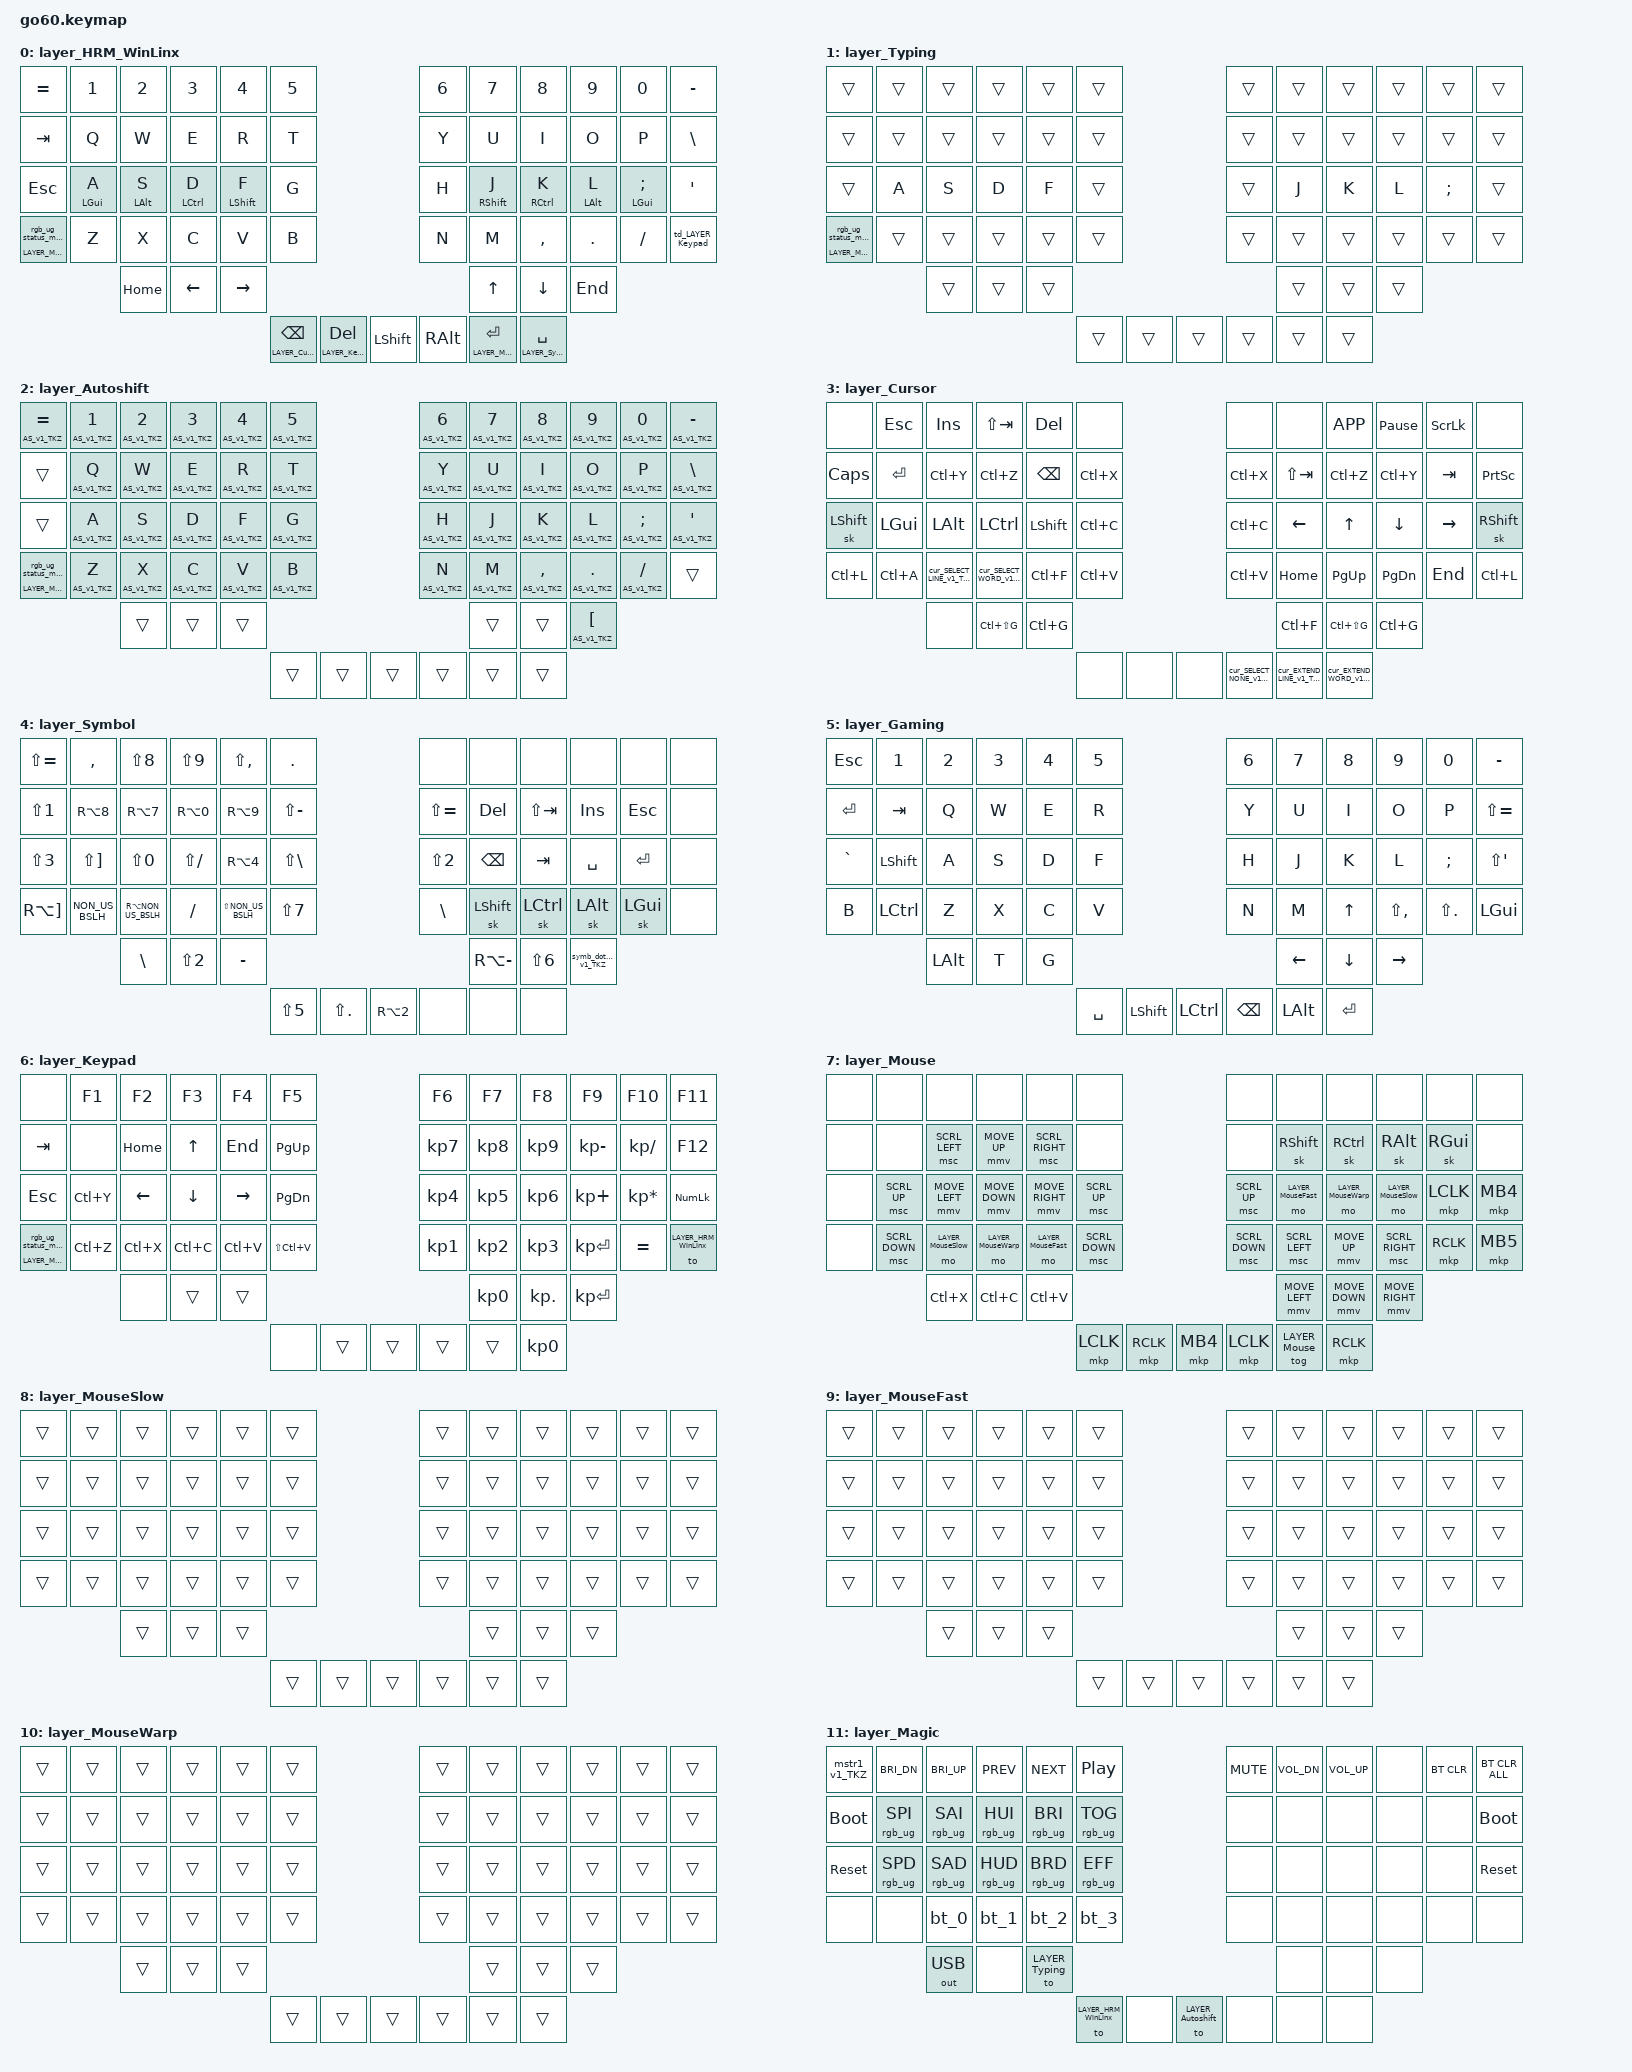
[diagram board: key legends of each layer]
/*
 * Copyright (c) 2020 The ZMK Contributors
 * Copyright (c) 2025 Innaworks Development Limited, trading as MoErgo
 *
 * SPDX-License-Identifier: MIT
 */


/* THIS FILE WAS GENERATED BY GO60 LAYOUT EDITOR
 *
 * This file was generated automatically. You may or may not want to
 * edit it directly.
 */

#include <behaviors.dtsi>

/* Include all behavior includes needed */

#include <dt-bindings/zmk/outputs.h>
#include <dt-bindings/zmk/keys.h>
#include <dt-bindings/zmk/bt.h>
#include <dt-bindings/zmk/rgb.h>

#include <input/processors.dtsi>
#include <dt-bindings/zmk/input_transform.h>
#include <zephyr/dt-bindings/input/input-event-codes.h>

/* On demand includes */
#include <dt-bindings/zmk/input_transform.h>
#include <dt-bindings/zmk/pointing.h>
#include <input/processors.dtsi>

/* Helper Macros, based on https://github.com/urob/zmk-helpers/ */

#pragma once

#define ZMK_HELPER_STRINGIFY(x) #x

// Preprocessor mechanism to overload macros, cf. https://stackoverflow.com/a/27051616/6114651
#define VARGS_(_10, _9, _8, _7, _6, _5, _4, _3, _2, _1, N, ...) N
#define VARGS(...) VARGS_(__VA_ARGS__, 10, 9, 8, 7, 6, 5, 4, 3, 2, 1, 0)
#define CONCAT_(a, b) a##b
#define CONCAT(a, b) CONCAT_(a, b)

#define ZMK_BEHAVIOR_CORE_tap_dance  \
    compatible = "zmk,behavior-tap-dance"; \
    #binding-cells = <0>

#define ZMK_BEHAVIOR(name, type, ...) \
    name: name { \
        ZMK_BEHAVIOR_CORE_ ## type; \
        __VA_ARGS__ \
    };

#define ZMK_TAP_DANCE(name, ...) \
    ZMK_BEHAVIOR(name, tap_dance, __VA_ARGS__)

#define ZMK_TD_LAYER(name, layer) \
    ZMK_TAP_DANCE(name, \
        tapping-term-ms = <200>; \
        bindings = <&mo layer>, <&to layer>; \
)




/* Locale-specific keycodes */

#define SV_SECTION GRAVE
#define SV_PLUS MINUS
#define SV_ACUTE EQUAL
#define SV_E E
#define SV_A_RING LEFT_BRACKET
#define SV_UMLA RIGHT_BRACKET
#define SV_OE SEMICOLON
#define SV_AE SINGLE_QUOTE
#define SV_SQT BACKSLASH
#define SV_LT NON_US_BACKSLASH
#define SV_COMMA COMMA
#define SV_DOT PERIOD
#define SV_MINUS SLASH
#define SV_N1 N1
#define SV_N2 N2
#define SV_N3 N3
#define SV_N4 N4
#define SV_N5 N5
#define SV_N6 N6
#define SV_N7 N7
#define SV_N8 N8
#define SV_N9 N9
#define SV_N0 N0



/* Key positions */

#define POS_LH_C6R1 0
#define POS_LH_C5R1 1
#define POS_LH_C4R1 2
#define POS_LH_C3R1 3
#define POS_LH_C2R1 4
#define POS_LH_C1R1 5
#define POS_RH_C1R1 6
#define POS_RH_C2R1 7
#define POS_RH_C3R1 8
#define POS_RH_C4R1 9
#define POS_RH_C5R1 10
#define POS_RH_C6R1 11
#define POS_LH_C6R2 12
#define POS_LH_C5R2 13
#define POS_LH_C4R2 14
#define POS_LH_C3R2 15
#define POS_LH_C2R2 16
#define POS_LH_C1R2 17
#define POS_RH_C1R2 18
#define POS_RH_C2R2 19
#define POS_RH_C3R2 20
#define POS_RH_C4R2 21
#define POS_RH_C5R2 22
#define POS_RH_C6R2 23
#define POS_LH_C6R3 24
#define POS_LH_C5R3 25
#define POS_LH_C4R3 26
#define POS_LH_C3R3 27
#define POS_LH_C2R3 28
#define POS_LH_C1R3 29
#define POS_RH_C1R3 30
#define POS_RH_C2R3 31
#define POS_RH_C3R3 32
#define POS_RH_C4R3 33
#define POS_RH_C5R3 34
#define POS_RH_C6R3 35
#define POS_LH_C6R4 36
#define POS_LH_C5R4 37
#define POS_LH_C4R4 38
#define POS_LH_C3R4 39
#define POS_LH_C2R4 40
#define POS_LH_C1R4 41
#define POS_RH_C1R4 42
#define POS_RH_C2R4 43
#define POS_RH_C3R4 44
#define POS_RH_C4R4 45
#define POS_RH_C5R4 46
#define POS_RH_C6R4 47
#define POS_LH_C4R5 48
#define POS_LH_C3R5 49
#define POS_LH_C2R5 50
#define POS_RH_C2R5 51
#define POS_RH_C3R5 52
#define POS_RH_C4R5 53
#define POS_LH_T1 54
#define POS_LH_T2 55
#define POS_LH_T3 56
#define POS_RH_T3 57
#define POS_RH_T2 58
#define POS_RH_T1 59


#define LEFT_HAND_KEYS \
  POS_LH_C1R1 POS_LH_C2R1 POS_LH_C3R1 POS_LH_C4R1 POS_LH_C5R1 POS_LH_C6R1 \
  POS_LH_C1R2 POS_LH_C2R2 POS_LH_C3R2 POS_LH_C4R2 POS_LH_C5R2 POS_LH_C6R2 \
  POS_LH_C1R3 POS_LH_C2R3 POS_LH_C3R3 POS_LH_C4R3 POS_LH_C5R3 POS_LH_C6R3 \
  POS_LH_C1R4 POS_LH_C2R4 POS_LH_C3R4 POS_LH_C4R4 POS_LH_C5R4 POS_LH_C6R4 \
              POS_LH_C2R5 POS_LH_C3R5 POS_LH_C4R5

#define RIGHT_HAND_KEYS \
  POS_RH_C1R1 POS_RH_C2R1 POS_RH_C3R1 POS_RH_C4R1 POS_RH_C5R1 POS_RH_C6R1 \
  POS_RH_C1R2 POS_RH_C2R2 POS_RH_C3R2 POS_RH_C4R2 POS_RH_C5R2 POS_RH_C6R2 \
  POS_RH_C1R3 POS_RH_C2R3 POS_RH_C3R3 POS_RH_C4R3 POS_RH_C5R3 POS_RH_C6R3 \
  POS_RH_C1R4 POS_RH_C2R4 POS_RH_C3R4 POS_RH_C4R4 POS_RH_C5R4 POS_RH_C6R4 \
              POS_RH_C2R5 POS_RH_C3R5 POS_RH_C4R5

#define THUMB_KEYS \
  POS_LH_T1 POS_LH_T2 POS_LH_T3 \
  POS_RH_T1 POS_RH_T2 POS_RH_T3

/* Environment and metadata defines */
#define KB_TYPE_GLOVE_80 1
#define KB_TYPE_GO_60    2

#define KB_TYPE          KB_TYPE_GO_60
#define EDITOR_HOST_OS   'L'

/* Automatically generated layer name defines */
#define LAYER_HRM_WinLinx 0
#define LAYER_Typing 1
#define LAYER_Autoshift 2
#define LAYER_Cursor 3
#define LAYER_Symbol 4
#define LAYER_Gaming 5
#define LAYER_Keypad 6
#define LAYER_Mouse 7
#define LAYER_MouseSlow 8
#define LAYER_MouseFast 9
#define LAYER_MouseWarp 10
#define LAYER_Magic 11

/* To deal with the situation where there is no Lower layer, to keep &lower happy */
#ifndef LAYER_Lower
#define LAYER_Lower 0
#endif

/* Generated input processors */


/* Custom Device-tree */
////////////////////////////////////////////////////////////////
// TailorKey 4.2j Go60 - RGB Lighting 
// Paste this configuration into the Custom Device-tree section
// For more into, see https://sites.google.com/view/tailorkey
////////////////////////////////////////////////////////////////

#if __has_include(<dt-bindings/zmk/rgb_colors.h>)
  //
  // Color definitions with conflict guard to prevent
  // accidental redefinition of common abbreviations.
  //
  #if defined(RED) || defined(RED_RGB) || \
      defined(COR) || defined(COR_RGB) || \
      defined(ORN) || defined(ORN_RGB) || \
      defined(GDN) || defined(GDN_RGB) || \
      defined(GOL) || defined(GOL_RGB) || \
      defined(YLW) || defined(YLW_RGB) || \
      defined(CHU) || defined(CHU_RGB) || \
      defined(GRN) || defined(GRN_RGB) || \
      defined(SPG) || defined(SPG_RGB) || \
      defined(CYN) || defined(CYN_RGB) || \
      defined(AZU) || defined(AZU_RGB) || \
      defined(TEA) || defined(TEA_RGB) || \
      defined(TUR) || defined(TUR_RGB) || \
      defined(BLU) || defined(BLU_RGB) || \
      defined(PUR) || defined(PUR_RGB) || \
      defined(MAJ) || defined(MAJ_RGB) || \
      defined(PNK) || defined(PNK_RGB) || \
      defined(WHT) || defined(WHT_RGB) || \
      defined(BLK) || defined(BLK_RGB) || \
      defined(___) || \
      defined(DUG) || defined(DUG_RGB) || \
      defined(LAC) || defined(LAC_RGB) || \
      defined(BSL) || defined(BNL) || defined(BCL) || \
      defined(SSL) || defined(SNL) || defined(SCL) || \
      defined(FST) || defined(WRP) || defined(SLO)
  #error "Naming conflict: 3-letter color abbreviation already defined!"
  #endif

  //
  // color definitions from QMK
  // https://github.com/qmk/qmk_firmware/blob/master/quantum/color.h
  //
  #define RED_RGB 0xFF0000 // #FF0000 RED      => RED (red)
  #define COR_RGB 0xFF7C4D // #FF7C4D CORAL    => COR (coral)
  #define ORN_RGB 0xFF8000 // #FF8000 ORANGE   => ORN (ornj)
  #define GDN_RGB 0xD9A521 // #D9A521 GOLDNROD => GDN (gold'nrod)
  #define GOL_RGB 0xFFD900 // #FFD900 GOLD     => GOL (gold)
  #define YLW_RGB 0xFFFF00 // #FFFF00 YELLOW   => YLW (yellow)
  #define CHU_RGB 0x80FF00 // #80FF00 CHARTRSE => CHU (chartreuse)
  #define GRN_RGB 0x00FF00 // #00FF00 GREEN    => GRN (green)
  #define SPG_RGB 0x00FF80 // #00FF80 SPRINGRN => SPG (spring green)
  #define CYN_RGB 0x00FFFF // #00FFFF CYAN     => CYN (sigh-an)
  #define AZU_RGB 0x99F5FF // #99F5FF AZURE    => AZU (a-zur)
  #define TEA_RGB 0x008080 // #008080 TEAL     => TEA (teel)
  #define TUR_RGB 0x476E6A // #476E6A TURQUOIS => TUR (turquoise)
  #define BLU_RGB 0x0000FF // #0000FF BLUE     => BLU (bloo)
  #define PUR_RGB 0x7A00FF // #7A00FF PURPLE   => PUR (purp)
  #define MAJ_RGB 0xFF00FF // #FF00FF MAGENTA  => MAJ (mah-jenta)
  #define PNK_RGB 0xFF80BF // #FF80BF PINK     => PNK (pink)
  #define WHT_RGB 0xFFFFFF // #FFFFFF WHITE    => WHT (white)
  #define BLK_RGB 0x000000 // #000000 BLACK    => BLK (blak)

  //
  // color definitions from MoErgo
  // https://github.com/moergo-sc/zmk/blob/aca523dfce9b6447ffd19d833b791d44f1f286de/app/src/rgb_underglow.c#L259-L265
  //
  #define DUG_RGB 0x00ff68 // #00ff68 DULL_GRN => DUG (dull green)
  #define LAC_RGB 0x6b1fce // #6b1fce LILAC    => LAC (lilac)

  //
  // underglow for the colors above
  //
  #define RED &ug RED_RGB
  #define COR &ug COR_RGB
  #define ORN &ug ORN_RGB
  #define GDN &ug GDN_RGB
  #define GOL &ug GOL_RGB
  #define YLW &ug YLW_RGB
  #define CHU &ug CHU_RGB
  #define GRN &ug GRN_RGB
  #define SPG &ug SPG_RGB
  #define CYN &ug CYN_RGB
  #define AZU &ug AZU_RGB
  #define TEA &ug TEA_RGB
  #define TUR &ug TUR_RGB
  #define BLU &ug BLU_RGB
  #define PUR &ug PUR_RGB
  #define MAJ &ug MAJ_RGB
  #define PNK &ug PNK_RGB
  #define WHT &ug WHT_RGB
  #define ___ &ug BLK_RGB
  #define DUG &ug DUG_RGB
  #define LAC &ug LAC_RGB

  //
  // underglow for keyboard locks on the Base layer
  //
  #define BSL &ug_sl BLK_RGB RED_RGB // ScrollLock COLOR_OFF COLOR_ON
  #define BNL &ug_nl BLK_RGB RED_RGB // NumLock    COLOR_OFF COLOR_ON
  #define BCL &ug_cl BLK_RGB RED_RGB // CapsLock   COLOR_OFF COLOR_ON


  //
  // colors for mouse speed scaling in Mouse layers
  //
  #define FST GOL
  #define WRP CHU
  #define SLO COR



  // ==== PER-KEY-RGB <section begins> ====
  / {
    underglow-layer {
      compatible = "zmk,underglow-layer";

   
      #ifdef LAYER_HRM_WinLinx
      HRM_WinLinx {
        bindings = <
          ___ ___ BCL BNL BSL ___                                     ___ ___ ___ ___ ___ ___
          ___ ___ ___ ___ ___ ___                                     ___ ___ ___ ___ ___ ___
          ___ MAJ CYN CHU YLW ___                                     ___ YLW CHU CYN MAJ ___
          ___ ___ ___ ___ ___ ___                                     ___ ___ ___ ___ ___ ___
                  ___ ___ ___                                             ___ ___ ___ 
                                       ___ ___ ___     ___ ___ ___ 
        >;
        layer-id = <LAYER_HRM_WinLinx>;
        fade-delay = <30>;
      };
      #endif

      #ifdef LAYER_HRM_macOS
      HRM_macOS {
        bindings = <
          ___ ___ BCL BNL BSL ___                                     ___ ___ ___ ___ ___ ___
          ___ ___ ___ ___ ___ ___                                     ___ ___ ___ ___ ___ ___
          ___ CHU CYN MAJ YLW ___                                     ___ YLW MAJ CYN CHU ___
          ___ ___ ___ ___ ___ ___                                     ___ ___ ___ ___ ___ ___
                  ___ ___ ___                                             ___ ___ ___ 
                                       ___ ___ ___     ___ ___ ___ 
        >;
        layer-id = <LAYER_HRM_macOS>;
        fade-delay = <30>;
      };
      #endif

      #ifdef LAYER_Keypad
      Keypad {
        bindings = <
          ___ WHT WHT WHT WHT WHT                                     WHT WHT WHT WHT WHT WHT 
          WHT ___ GRN GRN GRN GRN                                     WHT WHT WHT WHT WHT WHT 
          WHT YLW GRN GRN GRN GRN                                     WHT WHT WHT WHT WHT ORN
          ___ YLW YLW YLW YLW YLW                                     WHT WHT WHT WHT WHT ___
                  ___ WHT WHT                                             WHT WHT WHT 
                                       WHT WHT WHT     WHT WHT WHT 
        >;
        layer-id = <LAYER_Keypad>;
        fade-delay = <15>;
      };
      #endif

  #ifdef LAYER_Autoshift
  Autoshift {
    bindings = <
          YLW YLW YLW YLW YLW YLW                                     YLW YLW YLW YLW YLW YLW
          ___ YLW YLW YLW YLW YLW                                     YLW YLW YLW YLW YLW YLW
          ___ YLW YLW YLW YLW YLW                                     YLW YLW YLW YLW YLW YLW
          YLW YLW YLW YLW YLW YLW                                     YLW YLW YLW YLW YLW ___
                  ___ ___ ___                                             ___ ___ ___ 
                                      ___ ___ ___     ___ ___ ___  
    >;
    layer-id = <LAYER_Autoshift>;
    fade-delay = <180>;
  };
  #endif

 #ifdef LAYER_LeftPinky
  LeftPinky {
    bindings = <
          ___ ___ BCL BNL BSL ___                                     ___ ___ ___ ___ ___ ___
          ___ MAJ ___ ___ ___ ___                                     ___ ___ ___ ___ ___ ___
          ___ MAJ ___ ___ ___ ___                                     ___ ___ ___ ___ ___ ___
          ___ MAJ ___ ___ ___ ___                                     ___ ___ ___ ___ ___ ___
                  ___ ___ ___                                             ___ ___ ___ 
                                       ___ ___ ___     ___ ___ ___ 
        >;
    layer-id = <LAYER_LeftPinky>;
    fade-delay = <15>;
  };
  #endif

  #ifdef LAYER_LeftRingy
  LeftRingy {
    bindings = <
          ___ ___ BCL BNL BSL ___                                     ___ ___ ___ ___ ___ ___
          ___ ___ CYN ___ ___ ___                                     ___ ___ ___ ___ ___ ___
          ___ ___ CYN ___ ___ ___                                     ___ ___ ___ ___ ___ ___
          ___ ___ CYN ___ ___ ___                                     ___ ___ ___ ___ ___ ___
                  ___ ___ ___                                             ___ ___ ___ 
                                       ___ ___ ___     ___ ___ ___ 
    >;
    layer-id = <LAYER_LeftRingy>;
    fade-delay = <15>;
  };
  #endif

  #ifdef LAYER_LeftMiddy
  LeftMiddy {
    bindings = <
          ___ ___ BCL BNL BSL ___                                     ___ ___ ___ ___ ___ ___
          ___ ___ ___ GRN ___ ___                                     ___ ___ ___ ___ ___ ___
          ___ ___ ___ GRN ___ ___                                     ___ ___ ___ ___ ___ ___
          ___ ___ ___ GRN ___ ___                                     ___ ___ ___ ___ ___ ___
                  ___ ___ ___                                             ___ ___ ___ 
                                       ___ ___ ___     ___ ___ ___ 
    >;
    layer-id = <LAYER_LeftMiddy>;
    fade-delay = <15>;
   };
  #endif

  #ifdef LAYER_LeftIndex
  LeftIndex {
    bindings = <
          ___ ___ BCL BNL BSL ___                                     ___ ___ ___ ___ ___ ___
          ___ ___ ___ ___ YLW ___                                     ___ ___ ___ ___ ___ ___
          ___ ___ ___ ___ YLW ___                                     ___ ___ ___ ___ ___ ___
          ___ ___ ___ ___ YLW ___                                     ___ ___ ___ ___ ___ ___
                  ___ ___ ___                                             ___ ___ ___ 
                                       ___ ___ ___     ___ ___ ___ 
    >;
    layer-id = <LAYER_LeftIndex>;
    fade-delay = <15>;
  };
  #endif

  #ifdef LAYER_RightIndex
  RightIndex {
    bindings = <
         ___ ___ BCL BNL BSL ___                                     ___ ___ ___ ___ ___ ___
          ___ ___ ___ ___ ___ ___                                     ___ YLW ___ ___ ___ ___
          ___ ___ ___ ___ ___ ___                                     ___ YLW ___ ___ ___ ___
          ___ ___ ___ ___ ___ ___                                     ___ YLW ___ ___ ___ ___
                  ___ ___ ___                                             ___ ___ ___ 
                                       ___ ___ ___     ___ ___ ___ 
    >;
    layer-id = <LAYER_RightIndex>;
    fade-delay = <15>;
  };
  #endif

  #ifdef LAYER_RightMiddy
  RightMiddy {
    bindings = <
          ___ ___ BCL BNL BSL ___                                     ___ ___ ___ ___ ___ ___
          ___ ___ ___ ___ ___ ___                                     ___ ___ GRN ___ ___ ___
          ___ ___ ___ ___ ___ ___                                     ___ ___ GRN ___ ___ ___
          ___ ___ ___ ___ ___ ___                                     ___ ___ GRN ___ ___ ___
                  ___ ___ ___                                             ___ ___ ___ 
                                       ___ ___ ___     ___ ___ ___ 
    >;
    layer-id = <LAYER_RightMiddy>;
    fade-delay = <15>;
  };
  #endif

  #ifdef LAYER_RightRingy
  RightRingy {
    bindings = <
          ___ ___ BCL BNL BSL ___                                     ___ ___ ___ ___ ___ ___
          ___ ___ ___ ___ ___ ___                                     ___ ___ ___ CYN ___ ___
          ___ ___ ___ ___ ___ ___                                     ___ ___ ___ CYN ___ ___
          ___ ___ ___ ___ ___ ___                                     ___ ___ ___ CYN ___ ___
                  ___ ___ ___                                             ___ ___ ___ 
                                       ___ ___ ___     ___ ___ ___ 
    >;
    layer-id = <LAYER_RightRingy>;
    fade-delay = <15>;
  };
  #endif

  #ifdef LAYER_RightPinky
  RightPinky {
    bindings = <
          ___ ___ BCL BNL BSL ___                                     ___ ___ ___ ___ ___ ___
          ___ ___ ___ ___ ___ ___                                     ___ ___ ___ ___ MAJ ___
          ___ ___ ___ ___ ___ ___                                     ___ ___ ___ ___ MAJ ___
          ___ ___ ___ ___ ___ ___                                     ___ ___ ___ ___ MAJ ___
                  ___ ___ ___                                             ___ ___ ___ 
                                       ___ ___ ___     ___ ___ ___ 
    >;
    layer-id = <LAYER_RightPinky>;
    fade-delay = <15>;
  };
  #endif


  #ifdef LAYER_Cursor
  Cursor {
    bindings = <
          ___ ORN ORN ORN ORN ___                                     ___ ___ ___ ___ ___ ___
          ___ ORN MAJ MAJ ORN YLW                                     YLW ORN PNK PNK ORN ___
          WHT WHT WHT WHT WHT YLW                                     YLW GRN GRN GRN GRN WHT
          MAJ CYN CYN CYN MAJ YLW                                     YLW GRN GRN GRN GRN MAJ
                  ___ MAJ MAJ                                             MAJ MAJ MAJ
                                      ___ DUG ___     CYN CYN CYN    
    >;
    layer-id = <LAYER_Cursor>;
    fade-delay = <5>;
  };
  #endif

  #ifdef LAYER_Cursor_macOS
  Cursor_macOS {
    bindings = <
          ___ ORN ORN ORN ORN ___                                     ___ ___ ___ ___ ___ ___
          ___ ORN CYN CYN ORN YLW                                     YLW ORN PNK PNK ORN ___
          WHT WHT WHT WHT WHT YLW                                     YLW GRN GRN GRN GRN WHT
          MAJ CYN CYN CYN MAJ YLW                                     YLW GRN GRN GRN GRN MAJ
                  ___ MAJ MAJ                                             MAJ MAJ MAJ
                                      ___ DUG ___     CYN CYN CYN    
    >;
    layer-id = <LAYER_Cursor_macOS>;
    fade-delay = <5>;
  };
  #endif

  #ifdef LAYER_Symbol
  Symbol {
    bindings = <
          MAJ AZU AZU AZU YLW YLW                                     ___ ___ ___ ___ ___ ___
          AZU MAJ AZU AZU YLW YLW                                     MAJ ORN ORN ORN ORN ___
          YLW YLW CHU ORN YLW YLW                                     MAJ ORN ORN ORN ORN ___
          MAJ CHU CHU CHU CHU YLW                                     MAJ WHT WHT WHT WHT ___
                  MAJ MAJ ORN                                             YLW YLW YLW
                                      YLW YLW YLW     ___ ___ ___ 
    >;
    layer-id = <LAYER_Symbol>;
    fade-delay = <5>;
  };
  #endif

  #ifdef LAYER_Mouse
  Mouse {
    bindings = <
          ___ ___ ___ ___ ___ ___                                     ___ ___ ___ ___ ___ ___
          ___ ___ LAC AZU LAC ___                                     ___ WHT WHT WHT WHT ___
          ___ TEA AZU AZU AZU ___                                     ___ FST WRP SLO YLW PNK
          ___ TEA SLO WRP FST ___                                     ___ LAC AZU LAC ORN PNK
                  YLW YLW YLW                                                 AZU AZU AZU 
                                      YLW ORN PNK     ___ DUG ___ 
    >;
    layer-id = <LAYER_Mouse>;
    fade-delay = <5>;
  };
  #endif

  #ifdef LAYER_MouseFast
  MouseFast {
    bindings = <

          ___ ___ ___ ___ ___ ___                                     ___ YLW GRN CYN MAJ ___
          ___ ___ FST FST FST ___                                     ___ FST FST FST FST ___
          ___ FST FST FST FST ___                                     ___ FST WRP SLO ___ ___
          ___ FST SLO WRP FST ___                                     ___ FST FST FST FST ___
                  ___ ___ ___                                             YLW ORN MAJ
                                      YLW ORN PNK     ___ DUG ___ 
    >;
    layer-id = <LAYER_MouseFast>;
    fade-delay = <5>;
  };
  #endif

  #ifdef LAYER_MouseWarp
  MouseWarp {
    bindings = <

          ___ ___ ___ ___ ___ ___                                     ___ YLW GRN CYN MAJ ___
          ___ ___ WRP WRP WRP ___                                     ___ WRP WRP WRP WRP ___
          ___ WRP WRP WRP WRP ___                                     ___ FST WRP SLO ___ ___
          ___ WRP SLO WRP FST ___                                     ___ WRP WRP WRP WRP ___
                  ___ ___ ___                                             YLW ORN MAJ
                                      YLW ORN PNK     ___ DUG ___ 
    >;
    layer-id = <LAYER_MouseWarp>;
    fade-delay = <5>;
  };
  #endif

  #ifdef LAYER_MouseSlow
  MouseSlow {
    bindings = <
      ___ ___ ___ ___ ___ ___                                     ___ YLW GRN CYN MAJ ___
      ___ ___ SLO SLO SLO ___                                     ___ SLO SLO SLO SLO ___
      ___ SLO SLO SLO SLO ___                                     ___ FST WRP SLO ___ ___
      ___ SLO SLO WRP FST ___                                     ___ SLO SLO SLO SLO ___
              ___ ___ ___                                             YLW ORN MAJ
                                      YLW ORN PNK     ___ DUG ___ 
    >;
    layer-id = <LAYER_MouseSlow>;
    fade-delay = <5>;
  };
  #endif

  #ifdef LAYER_Gaming
  Gaming {
    bindings = <

      ___ ___ ___ ___ ___ ___                                     ___ ___ ___ ___ ___ ___
      ___ ___ ___ GRN ___ ___                                     ___ ___ ___ ___ ___ ___
      ___ ___ GRN GRN GRN ___                                     ___ ___ ___ ___ ___ ___
      YLW ___ ___ ___ ___ ___                                     ___ ___ GRN ___ ___ ___
              ___ ___ ___                                             GRN GRN GRN 
                                   ___ ___ ___     ___ ___ ___  
    >;
    layer-id = <LAYER_Gaming>;
    fade-delay = <120>;
     };
      #endif
 

    };
  };
  // ==== PER-KEY-RGB <section ends> =====

  #undef RED
  #undef RED_RGB
  #undef COR
  #undef COR_RGB
  #undef ORN
  #undef ORN_RGB
  #undef GDN
  #undef GDN_RGB
  #undef GOL
  #undef GOL_RGB
  #undef YLW
  #undef YLW_RGB
  #undef CHU
  #undef CHU_RGB
  #undef GRN
  #undef GRN_RGB
  #undef SPG
  #undef SPG_RGB
  #undef CYN
  #undef CYN_RGB
  #undef AZU
  #undef AZU_RGB
  #undef TEA
  #undef TEA_RGB
  #undef TUR
  #undef TUR_RGB
  #undef BLU
  #undef BLU_RGB
  #undef PUR
  #undef PUR_RGB
  #undef MAJ
  #undef MAJ_RGB
  #undef PNK
  #undef PNK_RGB
  #undef WHT
  #undef WHT_RGB
  #undef BLK
  #undef BLK_RGB
  #undef ___
  #undef DUG
  #undef DUG_RGB
  #undef LAC
  #undef LAC_RGB

  #undef BSL
  #undef BNL
  #undef BCL

  #undef SSL
  #undef SNL
  #undef SCL

  #undef FST
  #undef WRP
  #undef SLO
#endif


/* Input Listeners */
&mmv_input_listener {
    // LAYER_MouseSlow
    LAYER_MouseSlow {
        layers = <LAYER_MouseSlow>;
        input-processors = <&zip_xy_scaler 1 9>;
    };
    // LAYER_MouseFast
    LAYER_MouseFast {
        layers = <LAYER_MouseFast>;
        input-processors = <&zip_xy_scaler 3 1>;
    };
    // LAYER_MouseFast
    LAYER_MouseWarp {
        layers = <LAYER_MouseWarp>;
        input-processors = <&zip_xy_scaler 12 1>;
    };
};

&msc_input_listener {
    // LAYER_MouseSlow
    LAYER_MouseSlow {
        layers = <LAYER_MouseSlow>;
        input-processors = <&zip_scroll_scaler 1 9>;
    };
    // LAYER_MouseFast
    LAYER_MouseFast {
        layers = <LAYER_MouseFast>;
        input-processors = <&zip_scroll_scaler 3 1>;
    };
    // LAYER_MouseWarp
    LAYER_MouseWarp {
        layers = <LAYER_MouseWarp>;
        input-processors = <&zip_scroll_scaler 12 1>;
    };
};

&cirque_lh_listener {
    input-processors = <&zip_xy_to_scroll_mapper>, <&zip_temp_layer LAYER_Mouse 250>;
    layer_MouseSlow {
        layers = <LAYER_MouseSlow>;
        input-processors = <&zip_xy_scaler 11 12>, <&zip_xy_transform INPUT_TRANSFORM_Y_INVERT>, <&zip_xy_to_scroll_mapper>;
    };
    layer_MouseFast {
        layers = <LAYER_MouseFast>;
        input-processors = <&zip_xy_scaler 3 2>, <&zip_xy_transform INPUT_TRANSFORM_Y_INVERT>, <&zip_xy_to_scroll_mapper>;
    };
    layer_MouseWarp {
        layers = <LAYER_MouseWarp>;
        input-processors = <&zip_xy_scaler 13 3>, <&zip_xy_transform INPUT_TRANSFORM_Y_INVERT>, <&zip_xy_to_scroll_mapper>;
    };
};

&cirque_rh_listener {
    input-processors = <&zip_temp_layer LAYER_Mouse 250>;
    layer_MouseSlow {
        layers = <LAYER_MouseSlow>;
        input-processors = <&zip_xy_scaler 1 1>;
    };
    layer_MouseFast {
        layers = <LAYER_MouseFast>;
        input-processors = <&zip_xy_scaler 4 1>;
    };
    layer_MouseWarp {
        layers = <LAYER_MouseWarp>;
        input-processors = <&zip_xy_scaler 6 1>;
    };
};

/* System behavior and macros */
/ {
    behaviors {
        ZMK_TD_LAYER(lower, LAYER_Lower)
    };
};

/ {
    macros {
        rgb_ug_status_macro: rgb_ug_status_macro {
            label = "RGB_UG_STATUS";
            compatible = "zmk,behavior-macro";
            #binding-cells = <0>;
            bindings
                = <&rgb_ug RGB_STATUS>;
        };
    };
};

/ {
#ifdef BT_DISC_CMD
    behaviors {
        bt_0: bt_0 {
            compatible = "zmk,behavior-tap-dance";
            label = "BT_0";
            #binding-cells = <0>;
            tapping-term-ms = <200>;
            bindings = <&bt_select_0>, <&bt BT_DISC 0>;
        };
        bt_1: bt_1 {
            compatible = "zmk,behavior-tap-dance";
            label = "BT_1";
            #binding-cells = <0>;
            tapping-term-ms = <200>;
            bindings = <&bt_select_1>, <&bt BT_DISC 1>;
        };
        bt_2: bt_2 {
            compatible = "zmk,behavior-tap-dance";
            label = "BT_2";
            #binding-cells = <0>;
            tapping-term-ms = <200>;
            bindings = <&bt_select_2>, <&bt BT_DISC 2>;
        };
        bt_3: bt_3 {
            compatible = "zmk,behavior-tap-dance";
            label = "BT_3";
            #binding-cells = <0>;
            tapping-term-ms = <200>;
            bindings = <&bt_select_3>, <&bt BT_DISC 3>;
        };
    };
    macros {
        bt_select_0: bt_select_0 {
            label = "BT_SELECT_0";
            compatible = "zmk,behavior-macro";
            #binding-cells = <0>;
            bindings
                = <&out OUT_BLE>,
                  <&bt BT_SEL 0>;
        };
        bt_select_1: bt_select_1 {
            label = "BT_SELECT_1";
            compatible = "zmk,behavior-macro";
            #binding-cells = <0>;
            bindings
                = <&out OUT_BLE>,
                  <&bt BT_SEL 1>;
        };
        bt_select_2: bt_select_2 {
            label = "BT_SELECT_2";
            compatible = "zmk,behavior-macro";
            #binding-cells = <0>;
            bindings
                = <&out OUT_BLE>,
                  <&bt BT_SEL 2>;
        };
        bt_select_3: bt_select_3 {
            label = "BT_SELECT_3";
            compatible = "zmk,behavior-macro";
            #binding-cells = <0>;
            bindings
                = <&out OUT_BLE>,
                  <&bt BT_SEL 3>;
        };
    };
#else
    macros {
        bt_0: bt_0 {
            label = "BT_0";
            compatible = "zmk,behavior-macro";
            #binding-cells = <0>;
            bindings
                = <&out OUT_BLE>,
                  <&bt BT_SEL 0>;
        };
        bt_1: bt_1 {
            label = "BT_1";
            compatible = "zmk,behavior-macro";
            #binding-cells = <0>;
            bindings
                = <&out OUT_BLE>,
                  <&bt BT_SEL 1>;
        };
        bt_2: bt_2 {
            label = "BT_2";
            compatible = "zmk,behavior-macro";
            #binding-cells = <0>;
            bindings
                = <&out OUT_BLE>,
                  <&bt BT_SEL 2>;
        };
        bt_3: bt_3 {
            label = "BT_3";
            compatible = "zmk,behavior-macro";
            #binding-cells = <0>;
            bindings
                = <&out OUT_BLE>,
                  <&bt BT_SEL 3>;
        };
    };
#endif
};

/ {
    behaviors {
        magic: magic {
            compatible = "zmk,behavior-hold-tap";
            label = "MAGIC_HOLD_TAP";
            #binding-cells = <2>;
            flavor = "tap-preferred";
            tapping-term-ms = <200>;
            bindings = <&mo>, <&rgb_ug_status_macro>;
        };
    };
};


/* Custom Defined Behaviors */
/ {

};

/* Automatically generated macro definitions */
/ {
    macros {

        // AutoShift Helper- &AS main macro is chained to &AS_HT hold tap and &AS_Shifted macro - TailorKey
        AS_Shifted_v1_TKZ: AS_Shifted_v1_TKZ {
            label = "&AS_SHIFTED_V1_TKZ";
            compatible = "zmk,behavior-macro-one-param";
            #binding-cells = <1>;
            tap-ms = <0>;
            wait-ms = <0>;
            bindings = <&macro_press>
                , <&kp LSHFT>
                , <&macro_tap>
                , <&macro_param_1to1>
                , <&kp MACRO_PLACEHOLDER>
                , <&macro_release>
                , <&kp LSHFT>;
        };

        // AutoShift (Assign &AS to a Key) - &AS main macro is chained to &AS_HT hold tap and &AS_Shifted macro - TailorKey
        AS_v1_TKZ: AS_v1_TKZ {
            label = "&AS_V1_TKZ";
            compatible = "zmk,behavior-macro-one-param";
            #binding-cells = <1>;
            tap-ms = <0>;
            wait-ms = <0>;
            bindings = <&macro_press>
                , <&macro_param_1to1>
                , <&macro_param_1to2>
                , <&AS_HT_v2_TKZ MACRO_PLACEHOLDER MACRO_PLACEHOLDER>
                , <&macro_pause_for_release>
                , <&macro_release>
                , <&macro_param_1to1>
                , <&macro_param_1to2>
                , <&AS_HT_v2_TKZ MACRO_PLACEHOLDER MACRO_PLACEHOLDER>;
        };

        // Cursor Layer - Extent Line (seq) - TailorKey
        cur_EXTEND_LINE_v1_TKZ: cur_EXTEND_LINE_v1_TKZ {
            label = "&CUR_EXTEND_LINE_V1_TKZ";
            compatible = "zmk,behavior-macro";
            #binding-cells = <0>;
            tap-ms = <1>;
            wait-ms = <1>;
            bindings = <&kp LS(END)>;
        };

        // Cursor Layer - Extend Word (seq) - TailorKey
        cur_EXTEND_WORD_v1_TKZ: cur_EXTEND_WORD_v1_TKZ {
            label = "&CUR_EXTEND_WORD_V1_TKZ";
            compatible = "zmk,behavior-macro";
            #binding-cells = <0>;
            tap-ms = <1>;
            wait-ms = <1>;
            bindings = <&kp LC(LS(RIGHT))>;
        };

        // Cursor Layer - Select Line (seq) - TailorKey
        cur_SELECT_LINE_v1_TKZ: cur_SELECT_LINE_v1_TKZ {
            label = "&CUR_SELECT_LINE_V1_TKZ";
            compatible = "zmk,behavior-macro";
            #binding-cells = <0>;
            tap-ms = <1>;
            wait-ms = <1>;
            bindings = <&kp HOME>
                , <&kp LS(END)>;
        };

        // Cursor Layer - Select None (seq) - TailorKey
        cur_SELECT_NONE_v1_TKZ: cur_SELECT_NONE_v1_TKZ {
            label = "&CUR_SELECT_NONE_V1_TKZ";
            compatible = "zmk,behavior-macro";
            #binding-cells = <0>;
            tap-ms = <1>;
            wait-ms = <1>;
            bindings = <&kp DOWN>
                , <&kp UP>
                , <&kp RIGHT>
                , <&kp LEFT>;
        };

        // Cursor Layer - Select Word (seq) - TailorKey
        cur_SELECT_WORD_v1_TKZ: cur_SELECT_WORD_v1_TKZ {
            label = "&CUR_SELECT_WORD_V1_TKZ";
            compatible = "zmk,behavior-macro";
            #binding-cells = <0>;
            tap-ms = <1>;
            wait-ms = <1>;
            bindings = <&kp LC(LEFT)>
                , <&kp LC(LS(RIGHT))>;
        };

        // mod_tab_switcher_chord -  TailorKey
        mod_tab_chord_v2_TKZ: mod_tab_chord_v2_TKZ {
            label = "&MOD_TAB_CHORD_V2_TKZ";
            compatible = "zmk,behavior-macro-two-param";
            #binding-cells = <2>;
            tap-ms = <0>;
            wait-ms = <0>;
            bindings = <&macro_press>
                , <&macro_param_2to1>
                , <&mo MACRO_PLACEHOLDER>
                , <&macro_press>
                , <&macro_param_1to1>
                , <&mod_tab_v2_TKZ MACRO_PLACEHOLDER>
                , <&macro_pause_for_release>
                , <&macro_release>
                , <&macro_param_1to1>
                , <&mod_tab_v2_TKZ MACRO_PLACEHOLDER>
                , <&macro_release>
                , <&macro_param_2to1>
                , <&mo MACRO_PLACEHOLDER>;
        };

        // mod_tab_switcher - TailorKey
        //
        //
        mod_tab_v2_TKZ: mod_tab_v2_TKZ {
            label = "&MOD_TAB_V2_TKZ";
            compatible = "zmk,behavior-macro-one-param";
            #binding-cells = <1>;
            tap-ms = <0>;
            wait-ms = <0>;
            bindings = <&macro_press>
                , <&macro_param_1to1>
                , <&kp MACRO_PLACEHOLDER>
                , <&macro_tap>
                , <&kp TAB>
                , <&macro_pause_for_release>
                , <&macro_release>
                , <&macro_param_1to1>
                , <&kp MACRO_PLACEHOLDER>;
        };

        // macro string1 sample - Magic Layer F1 - Text output sample macro 1 "¡Hola!" - TailorKey
        mstr1_v1_TKZ: mstr1_v1_TKZ {
            label = "&MSTR1_V1_TKZ";
            compatible = "zmk,behavior-macro";
            #binding-cells = <0>;
            bindings = <&macro_press>
                , <&kp RALT>
                , <&macro_tap>
                , <&kp KP_N0>
                , <&kp KP_N1>
                , <&kp KP_N6>
                , <&kp KP_N1>
                , <&macro_release>
                , <&kp RALT>
                , <&macro_press>
                , <&kp LSHFT>
                , <&macro_tap>
                , <&kp H>
                , <&macro_release>
                , <&kp LSHFT>
                , <&macro_tap>
                , <&kp O>
                , <&kp L>
                , <&kp A>
                , <&kp LS(N1)>
                , <&kp SPACE>
                , <&kp RET>;
        };

        // Symbol layer dot dot
        symb_dotdot_v1_TKZ: symb_dotdot_v1_TKZ {
            label = "&SYMB_DOTDOT_V1_TKZ";
            compatible = "zmk,behavior-macro";
            #binding-cells = <0>;
            tap-ms = <0>;
            wait-ms = <0>;
            bindings = <&macro_tap>
                , <&kp DOT>
                , <&kp DOT>;
        };
    };
};

/* Automatically generated behavior definitions */
/ {
    behaviors {

        // Layer tap dance behaviors

        ZMK_TD_LAYER(td_LAYER_Keypad, 6)

        // AutoShift Helper - &AS main macro is chained to &AS_HT hold tap and &AS_Shifted macro. For faster typists, it is recommended to decrease the tapping-term-ms value. A suggested value is 135 ms.
        // More: https://github.com/nickcoutsos/keymap-editor/wiki/Autoshift-using-ZMK-behaviors
        AS_HT_v2_TKZ: AS_HT_v2_TKZ {
            compatible = "zmk,behavior-hold-tap";
            #binding-cells = <2>;
            tapping-term-ms = <190>;
            bindings = <&AS_Shifted_v1_TKZ>, <&kp>;
            flavor = "tap-preferred";
        };

        // Homerow Mod for the left index finger - TailorKey.
        // For advanced tuning of HRM values, see: https://docs.google.com/spreadsheets/d/1ESgObQelyz4lnKlfwLYsmofLJulOMK5RdGBsopLe2o8
        HRM_left_index_v1_TKZ: HRM_left_index_v1_TKZ {
            compatible = "zmk,behavior-hold-tap";
            #binding-cells = <2>;
            tapping-term-ms = <190>;
            bindings = <&kp>, <&kp>;
            flavor = "tap-preferred";
            quick-tap-ms = <300>;
            require-prior-idle-ms = <100>;
            hold-trigger-key-positions = <POS_RH_T3 POS_RH_T2 POS_RH_T1 POS_RH_C1R1 POS_RH_C2R1 POS_RH_C3R1 POS_RH_C4R1 POS_RH_C5R1 POS_RH_C1R2 POS_RH_C2R2 POS_RH_C3R2 POS_RH_C4R2 POS_RH_C5R2 POS_RH_C1R3 POS_RH_C2R3 POS_RH_C3R3 POS_RH_C4R3 POS_RH_C5R3 POS_RH_C1R4 POS_RH_C2R4 POS_RH_C3R4 POS_RH_C4R4 POS_RH_C5R4 POS_RH_C2R5 POS_RH_C3R5 POS_RH_C4R5 POS_RH_C6R1 POS_RH_C6R2 POS_RH_C6R3 POS_RH_C6R4 POS_LH_T2 POS_LH_T3 POS_LH_T1>;
            hold-trigger-on-release;
        };

        // Homerow Mod for the left middle finger - TailorKey
        HRM_left_middy_v1_TKZ: HRM_left_middy_v1_TKZ {
            compatible = "zmk,behavior-hold-tap";
            #binding-cells = <2>;
            tapping-term-ms = <210>;
            bindings = <&kp>, <&kp>;
            flavor = "tap-preferred";
            quick-tap-ms = <300>;
            require-prior-idle-ms = <150>;
            hold-trigger-key-positions = <POS_RH_T3 POS_RH_T2 POS_RH_T1 POS_RH_C1R1 POS_RH_C2R1 POS_RH_C3R1 POS_RH_C4R1 POS_RH_C5R1 POS_RH_C1R2 POS_RH_C2R2 POS_RH_C3R2 POS_RH_C4R2 POS_RH_C5R2 POS_RH_C1R3 POS_RH_C2R3 POS_RH_C3R3 POS_RH_C4R3 POS_RH_C5R3 POS_RH_C1R4 POS_RH_C2R4 POS_RH_C3R4 POS_RH_C4R4 POS_RH_C5R4 POS_RH_C2R5 POS_RH_C3R5 POS_RH_C4R5 POS_RH_C6R1 POS_RH_C6R2 POS_RH_C6R3 POS_RH_C6R4 POS_LH_T1 POS_LH_T2 POS_LH_T3>;
            hold-trigger-on-release;
        };

        // Homerow Mod for the left pinky - TailorKey
        HRM_left_pinky_v1_TKZ: HRM_left_pinky_v1_TKZ {
            compatible = "zmk,behavior-hold-tap";
            #binding-cells = <2>;
            tapping-term-ms = <280>;
            bindings = <&kp>, <&kp>;
            flavor = "tap-preferred";
            quick-tap-ms = <300>;
            require-prior-idle-ms = <150>;
            hold-trigger-key-positions = <POS_RH_T3 POS_RH_T2 POS_RH_T1 POS_RH_C1R1 POS_RH_C2R1 POS_RH_C3R1 POS_RH_C4R1 POS_RH_C5R1 POS_RH_C6R1 POS_RH_C2R2 POS_RH_C3R2 POS_RH_C4R2 POS_RH_C5R2 POS_RH_C6R2 POS_RH_C3R3 POS_RH_C4R3 POS_RH_C5R3 POS_RH_C6R3 POS_RH_C3R4 POS_RH_C4R4 POS_RH_C5R4 POS_RH_C6R4 POS_RH_C1R2 POS_RH_C1R3 POS_RH_C2R3 POS_RH_C1R4 POS_RH_C2R4 POS_RH_C2R5 POS_RH_C3R5 POS_RH_C4R5 POS_LH_T1 POS_LH_T2 POS_LH_T3>;
            hold-trigger-on-release;
        };

        // Homerow Mod for the left ring finger 1 - TailorKey
        HRM_left_ring_v1_TKZ: HRM_left_ring_v1_TKZ {
            compatible = "zmk,behavior-hold-tap";
            #binding-cells = <2>;
            tapping-term-ms = <240>;
            bindings = <&kp>, <&kp>;
            flavor = "tap-preferred";
            quick-tap-ms = <300>;
            require-prior-idle-ms = <150>;
            hold-trigger-key-positions = <POS_RH_T3 POS_RH_T2 POS_RH_T1 POS_RH_C1R1 POS_RH_C2R1 POS_RH_C3R1 POS_RH_C4R1 POS_RH_C5R1 POS_RH_C1R2 POS_RH_C2R2 POS_RH_C3R2 POS_RH_C4R2 POS_RH_C5R2 POS_RH_C1R3 POS_RH_C2R3 POS_RH_C3R3 POS_RH_C4R3 POS_RH_C5R3 POS_RH_C1R4 POS_RH_C2R4 POS_RH_C3R4 POS_RH_C4R4 POS_RH_C5R4 POS_RH_C2R5 POS_RH_C3R5 POS_RH_C4R5 POS_RH_C6R1 POS_RH_C6R2 POS_RH_C6R3 POS_RH_C6R4 POS_LH_T1 POS_LH_T2 POS_LH_T3>;
            hold-trigger-on-release;
        };

        // Homerow Mod for the right index finger - TailorKey
        HRM_right_index_v1_TKZ: HRM_right_index_v1_TKZ {
            compatible = "zmk,behavior-hold-tap";
            #binding-cells = <2>;
            tapping-term-ms = <190>;
            bindings = <&kp>, <&kp>;
            flavor = "tap-preferred";
            quick-tap-ms = <300>;
            require-prior-idle-ms = <100>;
            hold-trigger-key-positions = <POS_LH_T3 POS_LH_T2 POS_LH_T1 POS_LH_C6R1 POS_LH_C5R1 POS_LH_C4R1 POS_LH_C3R1 POS_LH_C2R1 POS_LH_C6R2 POS_LH_C5R2 POS_LH_C4R2 POS_LH_C3R2 POS_LH_C2R2 POS_LH_C1R2 POS_LH_C6R3 POS_LH_C5R3 POS_LH_C4R3 POS_LH_C3R3 POS_LH_C2R3 POS_LH_C1R3 POS_LH_C6R4 POS_LH_C5R4 POS_LH_C4R4 POS_LH_C3R4 POS_LH_C2R4 POS_LH_C1R4 POS_LH_C4R5 POS_LH_C3R5 POS_LH_C2R5 POS_LH_C1R1 POS_RH_T3 POS_RH_T2 POS_RH_T1>;
            hold-trigger-on-release;
        };

        // Homerow Mod for the right middle finger - TailorKey
        HRM_right_middy_v1_TKZ: HRM_right_middy_v1_TKZ {
            compatible = "zmk,behavior-hold-tap";
            #binding-cells = <2>;
            tapping-term-ms = <210>;
            bindings = <&kp>, <&kp>;
            flavor = "tap-preferred";
            quick-tap-ms = <300>;
            require-prior-idle-ms = <150>;
            hold-trigger-key-positions = <POS_LH_T3 POS_LH_T2 POS_LH_T1 POS_LH_C6R1 POS_LH_C5R1 POS_LH_C4R1 POS_LH_C3R1 POS_LH_C2R1 POS_LH_C6R2 POS_LH_C5R2 POS_LH_C4R2 POS_LH_C3R2 POS_LH_C2R2 POS_LH_C1R2 POS_LH_C6R3 POS_LH_C5R3 POS_LH_C4R3 POS_LH_C3R3 POS_LH_C2R3 POS_LH_C1R3 POS_LH_C6R4 POS_LH_C5R4 POS_LH_C4R4 POS_LH_C3R4 POS_LH_C2R4 POS_LH_C1R4 POS_LH_C4R5 POS_LH_C3R5 POS_LH_C2R5 POS_LH_C1R1 POS_RH_T3 POS_RH_T2 POS_RH_T1>;
            hold-trigger-on-release;
        };

        // Homerow Mod for the right pinky - TailorKey
        HRM_right_pinky_v1_TKZ: HRM_right_pinky_v1_TKZ {
            compatible = "zmk,behavior-hold-tap";
            #binding-cells = <2>;
            tapping-term-ms = <280>;
            bindings = <&kp>, <&kp>;
            flavor = "tap-preferred";
            quick-tap-ms = <300>;
            require-prior-idle-ms = <150>;
            hold-trigger-key-positions = <POS_LH_T3 POS_LH_T2 POS_LH_T1 POS_LH_C6R1 POS_LH_C5R1 POS_LH_C4R1 POS_LH_C3R1 POS_LH_C2R1 POS_LH_C6R2 POS_LH_C5R2 POS_LH_C4R2 POS_LH_C3R2 POS_LH_C2R2 POS_LH_C1R2 POS_LH_C6R3 POS_LH_C5R3 POS_LH_C4R3 POS_LH_C3R3 POS_LH_C2R3 POS_LH_C1R3 POS_LH_C6R4 POS_LH_C5R4 POS_LH_C4R4 POS_LH_C3R4 POS_LH_C2R4 POS_LH_C1R4 POS_LH_C4R5 POS_LH_C3R5 POS_LH_C2R5 POS_LH_C1R1 POS_RH_T3 POS_RH_T2 POS_RH_T1>;
            hold-trigger-on-release;
        };

        // Homerow Mod for the right ring 1 - TailorKey
        //
        HRM_right_ring_v1_TKZ: HRM_right_ring_v1_TKZ {
            compatible = "zmk,behavior-hold-tap";
            #binding-cells = <2>;
            tapping-term-ms = <240>;
            bindings = <&kp>, <&kp>;
            flavor = "tap-preferred";
            quick-tap-ms = <300>;
            require-prior-idle-ms = <150>;
            hold-trigger-key-positions = <POS_LH_T3 POS_LH_T2 POS_LH_T1 POS_LH_C6R1 POS_LH_C5R1 POS_LH_C4R1 POS_LH_C3R1 POS_LH_C2R1 POS_LH_C6R2 POS_LH_C5R2 POS_LH_C4R2 POS_LH_C3R2 POS_LH_C2R2 POS_LH_C1R2 POS_LH_C6R3 POS_LH_C5R3 POS_LH_C4R3 POS_LH_C3R3 POS_LH_C2R3 POS_LH_C1R3 POS_LH_C6R4 POS_LH_C5R4 POS_LH_C4R4 POS_LH_C3R4 POS_LH_C2R4 POS_LH_C1R4 POS_LH_C4R5 POS_LH_C3R5 POS_LH_C2R5 POS_LH_C1R1 POS_RH_T3 POS_RH_T2 POS_RH_T1>;
            hold-trigger-on-release;
        };

        // space_layer_access - TailorKey
        space_v3_TKZ: space_v3_TKZ {
            compatible = "zmk,behavior-hold-tap";
            #binding-cells = <2>;
            tapping-term-ms = <200>;
            bindings = <&mo>, <&kp>;
            flavor = "balanced";
            quick-tap-ms = <150>;
        };

        // thumb_layer_access - TailorKey
        thumb_v2_TKZ: thumb_v2_TKZ {
            compatible = "zmk,behavior-hold-tap";
            #binding-cells = <2>;
            tapping-term-ms = <200>;
            bindings = <&mo>, <&kp>;
            flavor = "balanced";
            quick-tap-ms = <300>;
        };
    };
};

/* Automatically generated combos definitions */
/ {
    combos {
        compatible = "zmk,combos";

        // toggle gaming layer - TailorKey
        combo_gaming_layer_v1_TKZ {
            timeout-ms = <50>;
            key-positions = <POS_LH_C1R4 POS_LH_C2R5>;
            bindings = <&tog LAYER_Gaming>;
        };

        // sticky "hyper" modifiers (Win + Alt + Ctrl + Shift) - Use with Tab - TailorKey
        combo_sticky_hyp_rght_v1_TKZ {
            timeout-ms = <50>;
            key-positions = <POS_RH_C2R5 POS_RH_C2R4>;
            bindings = <&sk LG(LA(LC(LSHFT)))>;
            layers = <LAYER_HRM_WinLinx LAYER_Autoshift>;
        };

        // sticky "meh" modifiers (Alt + Ctrl + Shift) - Use with Tab - TailorKey
        combo_sticky_meh_rght_v1_TKZ {
            timeout-ms = <50>;
            key-positions = <POS_RH_C3R5 POS_RH_C3R4>;
            bindings = <&sk LA(LC(LSHFT))>;
            layers = <LAYER_HRM_WinLinx LAYER_Autoshift>;
        };

        // F1 combo for Go60 - TailorKey
        combo_F1_cb_v1_TKZ {
            key-positions = <POS_LH_C5R1 POS_LH_C5R2>;
            bindings = <&kp F1>;
            layers = <LAYER_HRM_WinLinx LAYER_Typing LAYER_Autoshift>;
        };

        // F10 combo for Go60 - TailorKey
        combo_F10_cb_v1_TKZ {
            key-positions = <POS_RH_C5R1 POS_RH_C5R2>;
            bindings = <&kp F10>;
            layers = <LAYER_HRM_WinLinx LAYER_Typing LAYER_Autoshift>;
        };

        // F11 combo for Go60 - TailorKey
        combo_F11_cb_v1_TKZ {
            key-positions = <POS_RH_C6R1 POS_RH_C6R2>;
            bindings = <&kp F11>;
            layers = <LAYER_HRM_WinLinx LAYER_Typing LAYER_Autoshift>;
        };

        // F12 combo for Go60 - TailorKey
        combo_F12_cb_v1_TKZ {
            key-positions = <POS_RH_C5R1 POS_RH_C6R1>;
            bindings = <&kp F12>;
            layers = <LAYER_HRM_WinLinx LAYER_Typing LAYER_Autoshift>;
        };

        // F2 combo for Go60 - TailorKey
        combo_F2_cb_v1_TKZ {
            key-positions = <POS_LH_C4R2 POS_LH_C4R1>;
            bindings = <&kp F2>;
            layers = <LAYER_HRM_WinLinx LAYER_Typing LAYER_Autoshift>;
        };

        // F3 combo for Go60 - TailorKey
        combo_F3_cb_v1_TKZ {
            key-positions = <POS_LH_C3R2 POS_LH_C3R1>;
            bindings = <&kp F3>;
            layers = <LAYER_HRM_WinLinx LAYER_Typing LAYER_Autoshift>;
        };

        // F4 combo for Go60 - TailorKey
        combo_F4_cb_v1_TKZ {
            key-positions = <POS_LH_C2R2 POS_LH_C2R1>;
            bindings = <&kp F4>;
            layers = <LAYER_HRM_WinLinx LAYER_Typing LAYER_Autoshift>;
        };

        // F5 combo for Go60 - TailorKey
        combo_F5_cb_v1_TKZ {
            key-positions = <POS_LH_C1R2 POS_LH_C1R1>;
            bindings = <&kp F5>;
            layers = <LAYER_HRM_WinLinx LAYER_Typing LAYER_Autoshift>;
        };

        // capslock when pressing both T1's - TailorKey
        combo_capslock_v1_TKZ {
            timeout-ms = <50>;
            key-positions = <POS_LH_T1 POS_RH_T1>;
            bindings = <&kp CAPS>;
            layers = <LAYER_HRM_WinLinx LAYER_Autoshift LAYER_Typing>;
        };

        // F6 combo for Go60 - TailorKey
        combo_F6_cb_v1_TKZ {
            key-positions = <POS_RH_C1R1 POS_RH_C1R2>;
            bindings = <&kp F6>;
            layers = <LAYER_HRM_WinLinx LAYER_Typing LAYER_Autoshift>;
        };

        // F7 combo for Go60 - TailorKey
        combo_F7_cb_v1_TKZ {
            key-positions = <POS_RH_C2R1 POS_RH_C2R2>;
            bindings = <&kp F7>;
            layers = <LAYER_HRM_WinLinx LAYER_Typing LAYER_Autoshift>;
        };

        // F8 combo for Go60 - TailorKey
        combo_F8_cb_v1_TKZ {
            key-positions = <POS_RH_C3R1 POS_RH_C3R2>;
            bindings = <&kp F8>;
            layers = <LAYER_HRM_WinLinx LAYER_Typing LAYER_Autoshift>;
        };

        // F9 combo for Go60 - TailorKey
        combo_F9_cb_v1_TKZ {
            key-positions = <POS_RH_C4R1 POS_RH_C4R2>;
            bindings = <&kp F9>;
            layers = <LAYER_HRM_WinLinx LAYER_Typing LAYER_Autoshift>;
        };

        // Alt Tab Switcher (Cursor Layer) - TailorKey
        combo_tabswitch_alt_v1_TKZ {
            key-positions = <POS_LH_T1 POS_LH_C1R4>;
            bindings = <&mod_tab_chord_v2_TKZ LALT LAYER_Cursor>;
            layers = <LAYER_HRM_WinLinx LAYER_Autoshift LAYER_Typing>;
        };

        // Alt Tab Switcher (Cursor Layer) - TailorKey
        combo_tabswitch_ctrl_v1_TKZ {
            key-positions = <POS_LH_C2R4 POS_LH_C2R5>;
            bindings = <&mod_tab_chord_v2_TKZ LCTRL LAYER_Cursor>;
            layers = <LAYER_HRM_WinLinx LAYER_Autoshift LAYER_Typing>;
        };
    };
};

/* Automatically generated keymap */
/ {
    keymap {
        compatible = "zmk,keymap";


        layer_HRM_WinLinx {
            bindings = <
            &kp EQUAL                         &kp N1                        &kp N2                          &kp N3                          &kp N4  &kp N5                                                                                                                                                         &kp N6                           &kp N7                           &kp N8                         &kp N9                             &kp N0         &kp MINUS
              &kp TAB                          &kp Q                         &kp W                           &kp E                           &kp R   &kp T                                                                                                                                                          &kp Y                            &kp U                            &kp I                          &kp O                              &kp P          &kp BSLH
              &kp ESC  &HRM_left_pinky_v1_TKZ LGUI A  &HRM_left_ring_v1_TKZ LALT S  &HRM_left_middy_v1_TKZ LCTRL D  &HRM_left_index_v1_TKZ LSHFT F   &kp G                                                                                                                                                          &kp H  &HRM_right_index_v1_TKZ RSHFT J  &HRM_right_middy_v1_TKZ RCTRL K  &HRM_right_ring_v1_TKZ LALT L  &HRM_right_pinky_v1_TKZ LGUI SEMI           &kp SQT
 &magic LAYER_Magic 0                          &kp Z                         &kp X                           &kp C                           &kp V   &kp B                                                                                                                                                          &kp N                            &kp M                        &kp COMMA                        &kp DOT                           &kp FSLH  &td_LAYER_Keypad
                                                                          &kp HOME                        &kp LEFT                       &kp RIGHT                                                                                                                                                                                                  &kp UP                         &kp DOWN                        &kp END
                                                                                                                                                            &thumb_v2_TKZ LAYER_Cursor BSPC  &thumb_v2_TKZ LAYER_Keypad DEL  &kp LSHFT  &kp RALT  &thumb_v2_TKZ LAYER_Mouse RET  &space_v3_TKZ LAYER_Symbol SPACE
            >;
        };

        layer_Typing {
            bindings = <
               &trans  &trans  &trans  &trans  &trans  &trans                                                  &trans  &trans  &trans  &trans    &trans  &trans
               &trans  &trans  &trans  &trans  &trans  &trans                                                  &trans  &trans  &trans  &trans    &trans  &trans
               &trans   &kp A   &kp S   &kp D   &kp F  &trans                                                  &trans   &kp J   &kp K   &kp L  &kp SEMI  &trans
 &magic LAYER_Magic 0  &trans  &trans  &trans  &trans  &trans                                                  &trans  &trans  &trans  &trans    &trans  &trans
                               &trans  &trans  &trans                                                                  &trans  &trans  &trans
                                                               &trans  &trans  &trans  &trans  &trans  &trans
            >;
        };

        layer_Autoshift {
            bindings = <
     &AS_v1_TKZ EQUAL  &AS_v1_TKZ N1  &AS_v1_TKZ N2  &AS_v1_TKZ N3  &AS_v1_TKZ N4  &AS_v1_TKZ N5                                                  &AS_v1_TKZ N6  &AS_v1_TKZ N7     &AS_v1_TKZ N8    &AS_v1_TKZ N9    &AS_v1_TKZ N0  &AS_v1_TKZ MINUS
               &trans   &AS_v1_TKZ Q   &AS_v1_TKZ W   &AS_v1_TKZ E   &AS_v1_TKZ R   &AS_v1_TKZ T                                                   &AS_v1_TKZ Y   &AS_v1_TKZ U      &AS_v1_TKZ I     &AS_v1_TKZ O     &AS_v1_TKZ P   &AS_v1_TKZ BSLH
               &trans   &AS_v1_TKZ A   &AS_v1_TKZ S   &AS_v1_TKZ D   &AS_v1_TKZ F   &AS_v1_TKZ G                                                   &AS_v1_TKZ H   &AS_v1_TKZ J      &AS_v1_TKZ K     &AS_v1_TKZ L  &AS_v1_TKZ SEMI    &AS_v1_TKZ SQT
 &magic LAYER_Magic 0   &AS_v1_TKZ Z   &AS_v1_TKZ X   &AS_v1_TKZ C   &AS_v1_TKZ V   &AS_v1_TKZ B                                                   &AS_v1_TKZ N   &AS_v1_TKZ M  &AS_v1_TKZ COMMA   &AS_v1_TKZ DOT  &AS_v1_TKZ FSLH            &trans
                                             &trans         &trans         &trans                                                                                       &trans            &trans  &AS_v1_TKZ LBKT
                                                                                                  &trans  &trans  &trans  &trans  &trans  &trans
            >;
        };

        layer_Cursor {
            bindings = <
     &none    &kp ESC                  &kp INS              &kp LS(TAB)    &kp DEL      &none                                                                                                         &none        &none      &kp K_APP  &kp PAUSE_BREAK   &kp SLCK      &none
  &kp CAPS    &kp RET                &kp LC(Y)                &kp LC(Z)   &kp BSPC  &kp LC(X)                                                                                                     &kp LC(X)  &kp LS(TAB)      &kp LC(Z)        &kp LC(Y)    &kp TAB  &kp PSCRN
 &sk LSHFT   &kp LGUI                 &kp LALT                &kp LCTRL  &kp LSHFT  &kp LC(C)                                                                                                     &kp LC(C)     &kp LEFT         &kp UP         &kp DOWN  &kp RIGHT  &sk RSHFT
 &kp LC(L)  &kp LC(A)  &cur_SELECT_LINE_v1_TKZ  &cur_SELECT_WORD_v1_TKZ  &kp LC(F)  &kp LC(V)                                                                                                     &kp LC(V)     &kp HOME      &kp PG_UP        &kp PG_DN    &kp END  &kp LC(L)
                                         &none            &kp LC(LS(G))  &kp LC(G)                                                                                                                             &kp LC(F)  &kp LC(LS(G))        &kp LC(G)
                                                                                                &none   &none   &none  &cur_SELECT_NONE_v1_TKZ  &cur_EXTEND_LINE_v1_TKZ  &cur_EXTEND_WORD_v1_TKZ
            >;
        };

        layer_Symbol {
            bindings = <
 &kp LS(EQUAL)        &kp COMMA           &kp LS(N8)    &kp LS(N9)        &kp LS(COMMA)        &kp DOT                                                                       &none          &none        &none                &none     &none   &none
    &kp LS(N1)       &kp RA(N8)           &kp RA(N7)    &kp RA(N0)           &kp RA(N9)  &kp LS(MINUS)                                                               &kp LS(EQUAL)        &kp DEL  &kp LS(TAB)              &kp INS   &kp ESC   &none
    &kp LS(N3)     &kp LS(RBKT)           &kp LS(N0)  &kp LS(FSLH)           &kp RA(N4)   &kp LS(BSLH)                                                                  &kp LS(N2)       &kp BSPC      &kp TAB            &kp SPACE   &kp RET   &none
  &kp RA(RBKT)  &kp NON_US_BSLH  &kp RA(NON_US_BSLH)      &kp FSLH  &kp LS(NON_US_BSLH)     &kp LS(N7)                                                                    &kp BSLH      &sk LSHFT    &sk LCTRL             &sk LALT  &sk LGUI   &none
                                            &kp BSLH    &kp LS(N2)            &kp MINUS                                                                                             &kp RA(MINUS)   &kp LS(N6)  &symb_dotdot_v1_TKZ
                                                                                                        &kp LS(N5)  &kp LS(DOT)  &kp RA(N2)   &none   &none   &none
            >;
        };

        layer_Gaming {
            bindings = <
   &kp ESC     &kp N1    &kp N2  &kp N3  &kp N4  &kp N5                                                                &kp N6    &kp N7    &kp N8         &kp N9       &kp N0      &kp MINUS
   &kp RET    &kp TAB     &kp Q   &kp W   &kp E   &kp R                                                                 &kp Y     &kp U     &kp I          &kp O        &kp P  &kp LS(EQUAL)
 &kp GRAVE  &kp LSHFT     &kp A   &kp S   &kp D   &kp F                                                                 &kp H     &kp J     &kp K          &kp L     &kp SEMI    &kp LS(SQT)
     &kp B  &kp LCTRL     &kp Z   &kp X   &kp C   &kp V                                                                 &kp N     &kp M    &kp UP  &kp LS(COMMA)  &kp LS(DOT)       &kp LGUI
                       &kp LALT   &kp T   &kp G                                                                                &kp LEFT  &kp DOWN      &kp RIGHT
                                                         &kp SPACE  &kp LSHFT  &kp LCTRL  &kp BSPC  &kp LALT  &kp RET
            >;
        };

        layer_Keypad {
            bindings = <
                &none     &kp F1     &kp F2     &kp F3     &kp F4         &kp F5                                                        &kp F6     &kp F7      &kp F8        &kp F9          &kp F10                &kp F11
              &kp TAB      &none   &kp HOME     &kp UP    &kp END      &kp PG_UP                                                     &kp KP_N7  &kp KP_N8   &kp KP_N9  &kp KP_MINUS     &kp KP_SLASH                &kp F12
              &kp ESC  &kp LC(Y)   &kp LEFT   &kp DOWN  &kp RIGHT      &kp PG_DN                                                     &kp KP_N4  &kp KP_N5   &kp KP_N6   &kp KP_PLUS  &kp KP_MULTIPLY             &kp KP_NUM
 &magic LAYER_Magic 0  &kp LC(Z)  &kp LC(X)  &kp LC(C)  &kp LC(V)  &kp LS(LC(V))                                                     &kp KP_N1  &kp KP_N2   &kp KP_N3  &kp KP_ENTER        &kp EQUAL  &to LAYER_HRM_WinLinx
                                      &none     &trans     &trans                                                                               &kp KP_N0  &kp KP_DOT  &kp KP_ENTER
                                                                                   &none  &trans  &trans  &trans  &trans  &kp KP_N0
            >;
        };

        layer_Mouse {
            bindings = <
  &none           &none                &none                &none                &none           &none                                                                                   &none                &none                &none                &none      &none     &none
  &none           &none       &msc SCRL_LEFT         &mmv MOVE_UP      &msc SCRL_RIGHT           &none                                                                                   &none            &sk RSHFT            &sk RCTRL             &sk RALT   &sk RGUI     &none
  &none    &msc SCRL_UP       &mmv MOVE_LEFT       &mmv MOVE_DOWN      &mmv MOVE_RIGHT    &msc SCRL_UP                                                                            &msc SCRL_UP  &mo LAYER_MouseFast  &mo LAYER_MouseWarp  &mo LAYER_MouseSlow  &mkp LCLK  &mkp MB4
  &none  &msc SCRL_DOWN  &mo LAYER_MouseSlow  &mo LAYER_MouseWarp  &mo LAYER_MouseFast  &msc SCRL_DOWN                                                                          &msc SCRL_DOWN       &msc SCRL_LEFT         &mmv MOVE_UP      &msc SCRL_RIGHT  &mkp RCLK  &mkp MB5
                                   &kp LC(X)            &kp LC(C)            &kp LC(V)                                                                                                               &mmv MOVE_LEFT       &mmv MOVE_DOWN      &mmv MOVE_RIGHT
                                                                                                        &mkp LCLK  &mkp RCLK  &mkp MB4  &mkp LCLK  &tog LAYER_Mouse  &mkp RCLK
            >;
        };

        layer_MouseSlow {
            bindings = <
 &trans  &trans  &trans  &trans  &trans  &trans                                                  &trans  &trans  &trans  &trans  &trans  &trans
 &trans  &trans  &trans  &trans  &trans  &trans                                                  &trans  &trans  &trans  &trans  &trans  &trans
 &trans  &trans  &trans  &trans  &trans  &trans                                                  &trans  &trans  &trans  &trans  &trans  &trans
 &trans  &trans  &trans  &trans  &trans  &trans                                                  &trans  &trans  &trans  &trans  &trans  &trans
                 &trans  &trans  &trans                                                                  &trans  &trans  &trans
                                                 &trans  &trans  &trans  &trans  &trans  &trans
            >;
        };

        layer_MouseFast {
            bindings = <
 &trans  &trans  &trans  &trans  &trans  &trans                                                  &trans  &trans  &trans  &trans  &trans  &trans
 &trans  &trans  &trans  &trans  &trans  &trans                                                  &trans  &trans  &trans  &trans  &trans  &trans
 &trans  &trans  &trans  &trans  &trans  &trans                                                  &trans  &trans  &trans  &trans  &trans  &trans
 &trans  &trans  &trans  &trans  &trans  &trans                                                  &trans  &trans  &trans  &trans  &trans  &trans
                 &trans  &trans  &trans                                                                  &trans  &trans  &trans
                                                 &trans  &trans  &trans  &trans  &trans  &trans
            >;
        };

        layer_MouseWarp {
            bindings = <
 &trans  &trans  &trans  &trans  &trans  &trans                                                  &trans  &trans  &trans  &trans  &trans  &trans
 &trans  &trans  &trans  &trans  &trans  &trans                                                  &trans  &trans  &trans  &trans  &trans  &trans
 &trans  &trans  &trans  &trans  &trans  &trans                                                  &trans  &trans  &trans  &trans  &trans  &trans
 &trans  &trans  &trans  &trans  &trans  &trans                                                  &trans  &trans  &trans  &trans  &trans  &trans
                 &trans  &trans  &trans                                                                  &trans  &trans  &trans
                                                 &trans  &trans  &trans  &trans  &trans  &trans
            >;
        };

        layer_Magic {
            bindings = <
 &mstr1_v1_TKZ     &kp C_BRI_DN     &kp C_BRI_UP       &kp C_PREV        &kp C_NEXT         &kp C_PP                                                                              &kp C_MUTE  &kp C_VOL_DN  &kp C_VOL_UP   &none  &bt BT_CLR  &bt BT_CLR_ALL
   &bootloader  &rgb_ug RGB_SPI  &rgb_ug RGB_SAI  &rgb_ug RGB_HUI   &rgb_ug RGB_BRI  &rgb_ug RGB_TOG                                                                                   &none         &none         &none   &none       &none     &bootloader
    &sys_reset  &rgb_ug RGB_SPD  &rgb_ug RGB_SAD  &rgb_ug RGB_HUD   &rgb_ug RGB_BRD  &rgb_ug RGB_EFF                                                                                   &none         &none         &none   &none       &none      &sys_reset
         &none            &none            &bt_0            &bt_1             &bt_2            &bt_3                                                                                   &none         &none         &none   &none       &none           &none
                                    &out OUT_USB            &none  &to LAYER_Typing                                                                                                                  &none         &none   &none
                                                                                                      &to LAYER_HRM_WinLinx   &none  &to LAYER_Autoshift   &none   &none   &none
            >;
        };

    };
};
